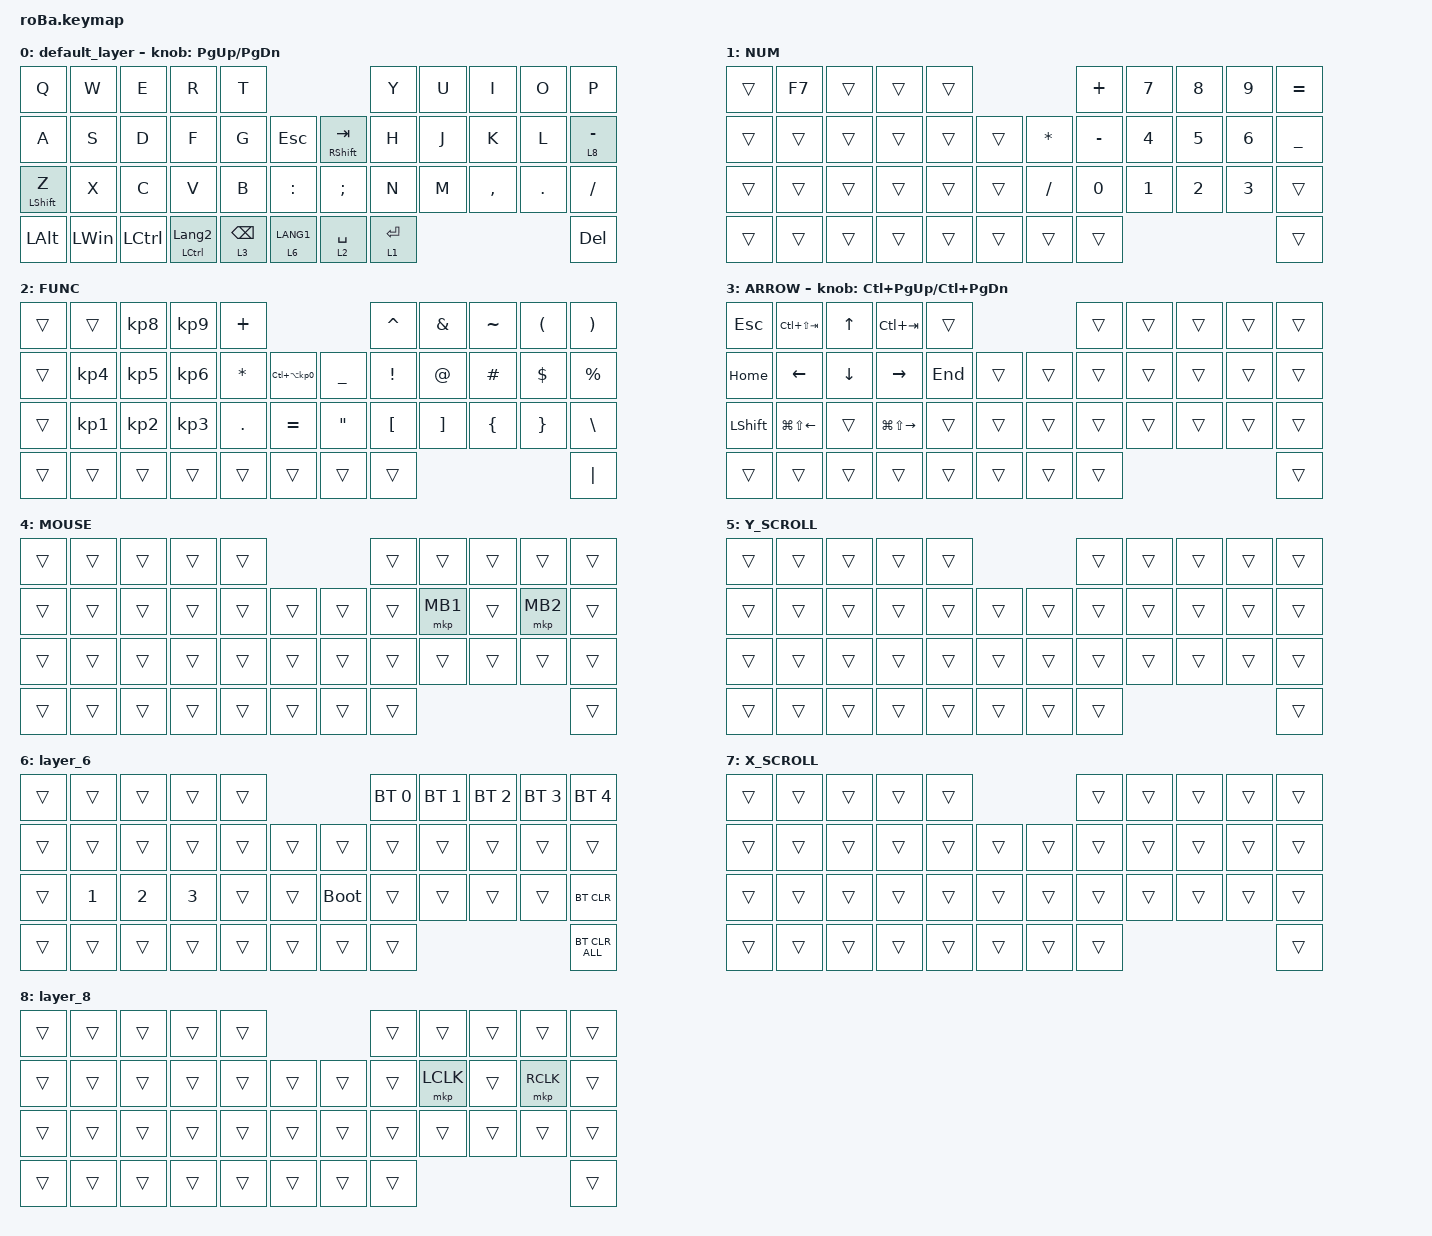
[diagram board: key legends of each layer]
#include <behaviors.dtsi>
#include <dt-bindings/zmk/bt.h>
#include <dt-bindings/zmk/keys.h>
#include <dt-bindings/zmk/pointing.h>

&mt {
    flavor = "balanced";
    quick-tap-ms = <0>;
};

&trackball {
    //automouse-layer = <4>;
    //scroll-layers = <5>;
    // arrows {
    //     layers = <3>;
    //     bindings =
    //         <&kp RIGHT_ARROW>,
    //         <&kp LEFT_ARROW>,
    //         <&kp UP_ARROW>,
    //         <&kp DOWN_ARROW>;
    //     tick = <10>;
    //     wait-ms = <5>;
    //     tap-ms = <5>;
    // };
};

/ {
    combos {
        compatible = "zmk,combos";

        tab {
            bindings = <&kp TAB>;
            key-positions = <11 12>;
        };

        Layer5 {
            bindings = <&mo 5>;
            key-positions = <9 8>;
        };
    };

    macros {
        to_layer_0: to_layer_0 {
            compatible = "zmk,behavior-macro-one-param";
            #binding-cells = <1>;
            bindings = <&to 0 &macro_param_1to1 &kp MACRO_PLACEHOLDER>;
            label = "TO_LAYER_0";
        };
    };

    behaviors {
        lt_to_layer_0: lt_to_layer_0 {
            compatible = "zmk,behavior-hold-tap";
            label = "LAYER_TAP_TO_0";
            bindings = <&mo>, <&to_layer_0>;

            #binding-cells = <2>;
            tapping-term-ms = <200>;
        };
    };

    keymap {
        compatible = "zmk,keymap";

        default_layer {
            bindings = <
&kp Q             &kp W         &kp E             &kp R                        &kp T                                                     &kp Y        &kp U  &kp I      &kp O    &kp P
&kp A             &kp S         &kp D             &kp F                        &kp G            &kp ESC          &mt RIGHT_SHIFT TAB     &kp H        &kp J  &kp K      &kp L    &lt 8 MINUS
&mt LEFT_SHIFT Z  &kp X         &kp C             &kp V                        &kp B            &kp COLON        &kp SEMICOLON           &kp N        &kp M  &kp COMMA  &kp DOT  &kp SLASH
&kp LEFT_ALT      &kp LEFT_WIN  &kp LEFT_CONTROL  &mt LEFT_CONTROL LANGUAGE_2  &lt 3 BACKSPACE  &lt 6 LANG1      &lt_to_layer_0 2 SPACE  &lt 1 ENTER                             &kp DEL
            >;

            sensor-bindings = <&inc_dec_kp PG_UP PAGE_DOWN>;
        };

        NUM {
            bindings = <
&trans  &kp F7  &trans  &trans  &trans                         &kp PLUS      &kp NUMBER_7  &kp NUMBER_8  &kp NUMBER_9  &kp EQUAL
&trans  &trans  &trans  &trans  &trans  &trans      &kp ASTRK  &kp MINUS     &kp NUMBER_4  &kp NUMBER_5  &kp NUMBER_6  &kp UNDER
&trans  &trans  &trans  &trans  &trans  &trans      &kp SLASH  &kp NUMBER_0  &kp NUMBER_1  &kp NUMBER_2  &kp NUMBER_3  &trans
&trans  &trans  &trans  &trans  &trans  &trans      &trans     &trans                                                  &trans
            >;
        };

        FUNC {
            bindings = <
&trans  &trans           &kp KP_NUMBER_8  &kp KP_NUMBER_9  &kp PLUS                                                      &kp CARET         &kp AMPERSAND      &kp TILDE       &kp LEFT_PARENTHESIS  &kp RIGHT_PARENTHESIS
&trans  &kp KP_NUMBER_4  &kp KP_NUMBER_5  &kp KP_NUMBER_6  &kp ASTERISK  &kp LC(LA(KP_NUMBER_0))      &kp UNDERSCORE     &kp EXCLAMATION   &kp AT_SIGN        &kp HASH        &kp DOLLAR            &kp PERCENT
&trans  &kp KP_NUMBER_1  &kp KP_NUMBER_2  &kp KP_NUMBER_3  &kp PERIOD    &kp EQUAL                    &kp DOUBLE_QUOTES  &kp LEFT_BRACKET  &kp RIGHT_BRACKET  &kp LEFT_BRACE  &kp RIGHT_BRACE       &kp BACKSLASH
&trans  &trans           &trans           &trans           &trans        &trans                       &trans             &trans                                                                     &kp PIPE
            >;
        };

        ARROW {
            bindings = <
&kp ESCAPE      &kp LC(LS(TAB))         &kp UP_ARROW    &kp LC(TAB)              &trans                       &trans  &trans  &trans  &trans  &trans
&kp HOME        &kp LEFT_ARROW          &kp DOWN_ARROW  &kp RIGHT_ARROW          &kp END  &trans      &trans  &trans  &trans  &trans  &trans  &trans
&kp LEFT_SHIFT  &kp LG(LS(LEFT_ARROW))  &trans          &kp LG(LS(RIGHT_ARROW))  &trans   &trans      &trans  &trans  &trans  &trans  &trans  &trans
&trans          &trans                  &trans          &trans                   &trans   &trans      &trans  &trans                          &trans
            >;

            sensor-bindings = <&inc_dec_kp LC(PAGE_UP) LC(PAGE_DOWN)>;
        };

        MOUSE {
            bindings = <
&trans  &trans  &trans  &trans  &trans                      &trans  &trans    &trans  &trans    &trans
&trans  &trans  &trans  &trans  &trans  &trans      &trans  &trans  &mkp MB1  &trans  &mkp MB2  &trans
&trans  &trans  &trans  &trans  &trans  &trans      &trans  &trans  &trans    &trans  &trans    &trans
&trans  &trans  &trans  &trans  &trans  &trans      &trans  &trans                              &trans
            >;
        };

        Y_SCROLL {
            bindings = <
&trans  &trans  &trans  &trans  &trans                      &trans  &trans  &trans  &trans  &trans
&trans  &trans  &trans  &trans  &trans  &trans      &trans  &trans  &trans  &trans  &trans  &trans
&trans  &trans  &trans  &trans  &trans  &trans      &trans  &trans  &trans  &trans  &trans  &trans
&trans  &trans  &trans  &trans  &trans  &trans      &trans  &trans                          &trans
            >;
        };

        layer_6 {
            bindings = <
&trans  &trans        &trans        &trans        &trans                           &bt BT_SEL 0  &bt BT_SEL 1  &bt BT_SEL 2  &bt BT_SEL 3  &bt BT_SEL 4
&trans  &trans        &trans        &trans        &trans  &trans      &trans       &trans        &trans        &trans        &trans        &trans
&trans  &kp NUMBER_1  &kp NUMBER_2  &kp NUMBER_3  &trans  &trans      &bootloader  &trans        &trans        &trans        &trans        &bt BT_CLR
&trans  &trans        &trans        &trans        &trans  &trans      &trans       &trans                                                  &bt BT_CLR_ALL
            >;
        };

        X_SCROLL {
            bindings = <
&trans  &trans  &trans  &trans  &trans                      &trans  &trans  &trans  &trans  &trans
&trans  &trans  &trans  &trans  &trans  &trans      &trans  &trans  &trans  &trans  &trans  &trans
&trans  &trans  &trans  &trans  &trans  &trans      &trans  &trans  &trans  &trans  &trans  &trans
&trans  &trans  &trans  &trans  &trans  &trans      &trans  &trans                          &trans
            >;
        };

        layer_8 {
            bindings = <
&trans  &trans  &trans  &trans  &trans                      &trans  &trans     &trans  &trans     &trans
&trans  &trans  &trans  &trans  &trans  &trans      &trans  &trans  &mkp LCLK  &trans  &mkp RCLK  &trans
&trans  &trans  &trans  &trans  &trans  &trans      &trans  &trans  &trans     &trans  &trans     &trans
&trans  &trans  &trans  &trans  &trans  &trans      &trans  &trans                                &trans
            >;
        };
    };
};
